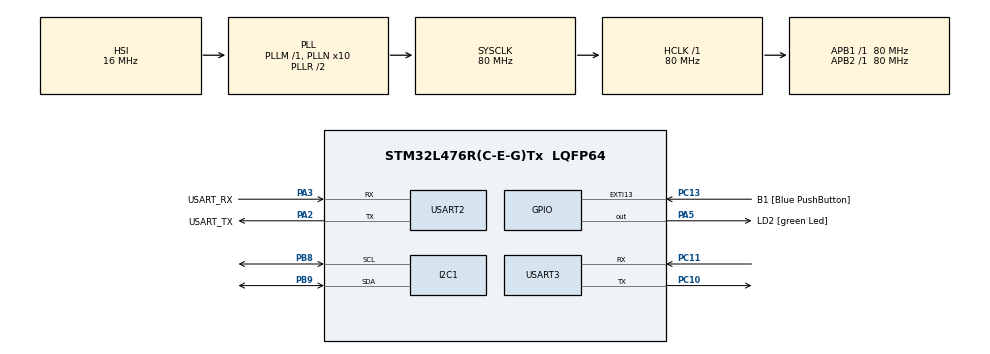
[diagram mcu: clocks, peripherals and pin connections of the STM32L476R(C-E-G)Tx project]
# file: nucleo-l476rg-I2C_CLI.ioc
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I2C1.Timing=0x10D19CE4
Mcu.Family=STM32L4
Mcu.Name=STM32L476R(C-E-G)Tx
Mcu.Package=LQFP64
NVIC.PriorityGroup=NVIC_PRIORITYGROUP_4
NVIC.USART2_IRQn=true\:0\:0\:false\:false\:true\:true\:true\:true
NVIC.USART3_IRQn=true\:0\:0\:false\:false\:true\:true\:true\:true
PA13\ (JTMS-SWDIO).GPIO_Label=TMS
PA13\ (JTMS-SWDIO).Mode=Serial_Wire
PA13\ (JTMS-SWDIO).Signal=SYS_JTMS-SWDIO
PA14\ (JTCK-SWCLK).GPIO_Label=TCK
PA14\ (JTCK-SWCLK).Mode=Serial_Wire
PA14\ (JTCK-SWCLK).Signal=SYS_JTCK-SWCLK
PA2.GPIO_Label=USART_TX
PA2.GPIO_Mode=GPIO_MODE_AF_PP
PA2.GPIO_PuPd=GPIO_NOPULL
PA2.GPIO_Speed=GPIO_SPEED_FREQ_VERY_HIGH
PA2.Mode=Asynchronous
PA2.Signal=USART2_TX
PA3.GPIO_Label=USART_RX
PA3.GPIO_Mode=GPIO_MODE_AF_PP
PA3.GPIO_PuPd=GPIO_NOPULL
PA3.GPIO_Speed=GPIO_SPEED_FREQ_VERY_HIGH
PA3.Mode=Asynchronous
PA3.Signal=USART2_RX
PA5.GPIO_Label=LD2 [green Led]
PA5.GPIO_ModeDefaultOutputPP=GPIO_MODE_OUTPUT_PP
PA5.GPIO_PuPd=GPIO_NOPULL
PA5.GPIO_Speed=GPIO_SPEED_FREQ_LOW
PA5.Signal=GPIO_Output
PB3\ (JTDO-TRACESWO).GPIO_Label=SWO
PB3\ (JTDO-TRACESWO).Signal=SYS_JTDO-SWO
PB8.Mode=I2C
PB8.Signal=I2C1_SCL
PB9.Mode=I2C
PB9.Signal=I2C1_SDA
PC10.Mode=Asynchronous
PC10.Signal=USART3_TX
PC11.Mode=Asynchronous
PC11.Signal=USART3_RX
PC13.GPIO_Label=B1 [Blue PushButton]
PC13.GPIO_ModeDefaultEXTI=GPIO_MODE_IT_FALLING
PC13.GPIO_PuPd=GPIO_NOPULL
PC13.Signal=GPXTI13
PC14-OSC32_IN\ (PC14).Mode=LSE-External-Oscillator
PC14-OSC32_IN\ (PC14).Signal=RCC_OSC32_IN
PC15-OSC32_OUT\ (PC15).Mode=LSE-External-Oscillator
PC15-OSC32_OUT\ (PC15).Signal=RCC_OSC32_OUT
PH0-OSC_IN\ (PH0).Signal=RCC_OSC_IN
PH1-OSC_OUT\ (PH1).Signal=RCC_OSC_OUT
ProjectManager.HeapSize=0x200
ProjectManager.StackSize=0x400
ProjectManager.TargetToolchain=STM32CubeIDE
RCC.ADCFreq_Value=64000000
RCC.AHBFreq_Value=80000000
RCC.APB1Freq_Value=80000000
RCC.APB1TimFreq_Value=80000000
RCC.APB2Freq_Value=80000000
RCC.APB2TimFreq_Value=80000000
RCC.CortexFreq_Value=80000000
RCC.HCLKFreq_Value=80000000
RCC.HSE_VALUE=8000000
RCC.HSI_VALUE=16000000
RCC.MSI_VALUE=4000000
RCC.PLLN=10
RCC.PLLSourceVirtual=RCC_PLLSOURCE_HSI
RCC.PREFETCH_ENABLE=1
RCC.SYSCLKFreq_VALUE=80000000
RCC.SYSCLKSource=RCC_SYSCLKSOURCE_PLLCLK
RCC.USBFreq_Value=64000000
RCC.VCOOutputFreq_Value=160000000
USART2.VirtualMode-Asynchronous=VM_ASYNC
USART3.VirtualMode-Asynchronous=VM_ASYNC
board=NUCLEO-L476RG

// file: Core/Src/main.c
/* USER CODE BEGIN Header */
/**
  ******************************************************************************
  * @file           : main.c
  * @brief          : Main program body
  ******************************************************************************
  * @attention
  *
  * Copyright (c) 2025 STMicroelectronics.
  * All rights reserved.
  *
  * This software is licensed under terms that can be found in the LICENSE file
  * in the root directory of this software component.
  * If no LICENSE file comes with this software, it is provided AS-IS.
  *
  ******************************************************************************
  */
/* USER CODE END Header */
#include "main.h"

/* USER CODE BEGIN Includes */
#include <string.h>
#include <stdio.h>
#include "commands.h"
#include "BME280.h"

/* USER CODE END Includes */

I2C_HandleTypeDef hi2c1;

UART_HandleTypeDef huart2;
UART_HandleTypeDef huart3;

/* USER CODE BEGIN PV */
uint8_t rxByte;
/* USER CODE END PV */

void SystemClock_Config(void);
static void MX_GPIO_Init(void);
static void MX_USART2_UART_Init(void);
static void MX_I2C1_Init(void);
static void MX_USART3_UART_Init(void);

int main(void)
{

  /* MCU Configuration--------------------------------------------------------*/

  /* Reset of all peripherals, Initializes the Flash interface and the Systick. */
  HAL_Init();

  /* USER CODE BEGIN Init */
  // "

  /* USER CODE END Init */

  /* Configure the system clock */
  SystemClock_Config();

  /* Initialize all configured peripherals */
  MX_GPIO_Init();
  MX_USART2_UART_Init();
  MX_I2C1_Init();
  MX_USART3_UART_Init();
  /* USER CODE BEGIN 2 */

  HAL_UART_Transmit(&huart3, (uint8_t*)"Hello STM32L476!\r\n", 19, 100);
  BME280_Init(&hi2c1);
  Commands_Init(&huart3);

  HAL_UART_Receive_IT(&huart3, &rxByte, 1); // Required by commands

  /* USER CODE END 2 */

  /* Infinite loop */
  /* USER CODE BEGIN WHILE */
  while (1)
  {

	HAL_GPIO_TogglePin(GPIOA, GPIO_PIN_5);
	HAL_Delay(500);
	BME280_ReadAll();
    /* USER CODE END WHILE */

  }
}

void SystemClock_Config(void)
{
  RCC_OscInitTypeDef RCC_OscInitStruct = {0};
  RCC_ClkInitTypeDef RCC_ClkInitStruct = {0};

  /** Configure the main internal regulator output voltage
  */
  if (HAL_PWREx_ControlVoltageScaling(PWR_REGULATOR_VOLTAGE_SCALE1) != HAL_OK)
  {
    Error_Handler();
  }

  /** Initializes the RCC Oscillators according to the specified parameters
  * in the RCC_OscInitTypeDef structure.
  */
  RCC_OscInitStruct.OscillatorType = RCC_OSCILLATORTYPE_HSI;
  RCC_OscInitStruct.HSIState = RCC_HSI_ON;
  RCC_OscInitStruct.HSICalibrationValue = RCC_HSICALIBRATION_DEFAULT;
  RCC_OscInitStruct.PLL.PLLState = RCC_PLL_ON;
  RCC_OscInitStruct.PLL.PLLSource = RCC_PLLSOURCE_HSI;
  RCC_OscInitStruct.PLL.PLLM = 1;
  RCC_OscInitStruct.PLL.PLLN = 10;
  RCC_OscInitStruct.PLL.PLLP = RCC_PLLP_DIV7;
  RCC_OscInitStruct.PLL.PLLQ = RCC_PLLQ_DIV2;
  RCC_OscInitStruct.PLL.PLLR = RCC_PLLR_DIV2;
  if (HAL_RCC_OscConfig(&RCC_OscInitStruct) != HAL_OK)
  {
    Error_Handler();
  }

  /** Initializes the CPU, AHB and APB buses clocks
  */
  RCC_ClkInitStruct.ClockType = RCC_CLOCKTYPE_HCLK|RCC_CLOCKTYPE_SYSCLK
                              |RCC_CLOCKTYPE_PCLK1|RCC_CLOCKTYPE_PCLK2;
  RCC_ClkInitStruct.SYSCLKSource = RCC_SYSCLKSOURCE_PLLCLK;
  RCC_ClkInitStruct.AHBCLKDivider = RCC_SYSCLK_DIV1;
  RCC_ClkInitStruct.APB1CLKDivider = RCC_HCLK_DIV1;
  RCC_ClkInitStruct.APB2CLKDivider = RCC_HCLK_DIV1;

  if (HAL_RCC_ClockConfig(&RCC_ClkInitStruct, FLASH_LATENCY_4) != HAL_OK)
  {
    Error_Handler();
  }
}

static void MX_I2C1_Init(void)
{

  hi2c1.Instance = I2C1;
  hi2c1.Init.Timing = 0x10D19CE4;
  hi2c1.Init.OwnAddress1 = 0;
  hi2c1.Init.AddressingMode = I2C_ADDRESSINGMODE_7BIT;
  hi2c1.Init.DualAddressMode = I2C_DUALADDRESS_DISABLE;
  hi2c1.Init.OwnAddress2 = 0;
  hi2c1.Init.OwnAddress2Masks = I2C_OA2_NOMASK;
  hi2c1.Init.GeneralCallMode = I2C_GENERALCALL_DISABLE;
  hi2c1.Init.NoStretchMode = I2C_NOSTRETCH_DISABLE;
  if (HAL_I2C_Init(&hi2c1) != HAL_OK)
  {
    Error_Handler();
  }

  /** Configure Analogue filter
  */
  if (HAL_I2CEx_ConfigAnalogFilter(&hi2c1, I2C_ANALOGFILTER_ENABLE) != HAL_OK)
  {
    Error_Handler();
  }

  /** Configure Digital filter
  */
  if (HAL_I2CEx_ConfigDigitalFilter(&hi2c1, 0) != HAL_OK)
  {
    Error_Handler();
  }

}

static void MX_USART2_UART_Init(void)
{

  huart2.Instance = USART2;
  huart2.Init.BaudRate = 115200;
  huart2.Init.WordLength = UART_WORDLENGTH_8B;
  huart2.Init.StopBits = UART_STOPBITS_1;
  huart2.Init.Parity = UART_PARITY_NONE;
  huart2.Init.Mode = UART_MODE_TX_RX;
  huart2.Init.HwFlowCtl = UART_HWCONTROL_NONE;
  huart2.Init.OverSampling = UART_OVERSAMPLING_16;
  huart2.Init.OneBitSampling = UART_ONE_BIT_SAMPLE_DISABLE;
  huart2.AdvancedInit.AdvFeatureInit = UART_ADVFEATURE_NO_INIT;
  if (HAL_UART_Init(&huart2) != HAL_OK)
  {
    Error_Handler();
  }

}

static void MX_USART3_UART_Init(void)
{

  huart3.Instance = USART3;
  huart3.Init.BaudRate = 115200;
  huart3.Init.WordLength = UART_WORDLENGTH_8B;
  huart3.Init.StopBits = UART_STOPBITS_1;
  huart3.Init.Parity = UART_PARITY_NONE;
  huart3.Init.Mode = UART_MODE_TX_RX;
  huart3.Init.HwFlowCtl = UART_HWCONTROL_NONE;
  huart3.Init.OverSampling = UART_OVERSAMPLING_16;
  huart3.Init.OneBitSampling = UART_ONE_BIT_SAMPLE_DISABLE;
  huart3.AdvancedInit.AdvFeatureInit = UART_ADVFEATURE_NO_INIT;
  if (HAL_UART_Init(&huart3) != HAL_OK)
  {
    Error_Handler();
  }

}

static void MX_GPIO_Init(void)
{
  GPIO_InitTypeDef GPIO_InitStruct = {0};

  /* GPIO Ports Clock Enable */
  __HAL_RCC_GPIOC_CLK_ENABLE();
  __HAL_RCC_GPIOH_CLK_ENABLE();
  __HAL_RCC_GPIOA_CLK_ENABLE();
  __HAL_RCC_GPIOB_CLK_ENABLE();

  /*Configure GPIO pin Output Level */
  HAL_GPIO_WritePin(LD2_GPIO_Port, LD2_Pin, GPIO_PIN_RESET);

  /*Configure GPIO pin : B1_Pin */
  GPIO_InitStruct.Pin = B1_Pin;
  GPIO_InitStruct.Mode = GPIO_MODE_IT_FALLING;
  GPIO_InitStruct.Pull = GPIO_NOPULL;
  HAL_GPIO_Init(B1_GPIO_Port, &GPIO_InitStruct);

  /*Configure GPIO pin : LD2_Pin */
  GPIO_InitStruct.Pin = LD2_Pin;
  GPIO_InitStruct.Mode = GPIO_MODE_OUTPUT_PP;
  GPIO_InitStruct.Pull = GPIO_NOPULL;
  GPIO_InitStruct.Speed = GPIO_SPEED_FREQ_LOW;
  HAL_GPIO_Init(LD2_GPIO_Port, &GPIO_InitStruct);

}

/* USER CODE BEGIN 4 */

// UART Callback
void HAL_UART_RxCpltCallback(UART_HandleTypeDef *huart)
{
    if (huart->Instance == USART3)
    {
        Commands_Process(rxByte);
        HAL_UART_Receive_IT(&huart3, &rxByte, 1);
    }
}

/* USER CODE END 4 */

void Error_Handler(void)
{
  __disable_irq();
  while (1)
  {
  }
}
